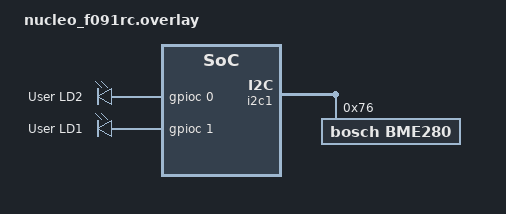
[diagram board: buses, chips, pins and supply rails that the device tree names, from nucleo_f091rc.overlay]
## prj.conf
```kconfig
CONFIG_PRINTK=y
CONFIG_HEAP_MEM_POOL_SIZE=256
CONFIG_ASSERT=y
CONFIG_GPIO=y
CONFIG_SENSOR=y
CONFIG_SENSOR_ASYNC_API=y
```

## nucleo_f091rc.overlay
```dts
/*
 * Copyright (c) 2020, Nordic Semiconductor ASA
 *
 * SPDX-License-Identifier: Apache-2.0
 */

/*
 * Example configuration of a BME280 device on an Arduino I2C bus.
 *
 * Device address 0x77 is assumed. Your device may have a different
 * address; check your device documentation if unsure.
 */

/ {
    leds {
        compatible = "gpio-leds";
        green_led_2: led_2 {
            gpios = <&gpioc 0 GPIO_ACTIVE_HIGH>;
            label = "User LD2";
        };
        External_led1: led_1 {
            gpios = <&gpioc 1 GPIO_ACTIVE_HIGH>;
            label = "User LD1";
        };
    };
    aliases {
        led0 = &green_led_2;
        led1 = &External_led1;
    };
};
&i2c1 {    
    bme280@76 {  
        compatible = "bosch,bme280";
        reg = <0x76>;  
        label = "BME280";
    };
};
```

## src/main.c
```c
#include <zephyr/kernel.h>
#include <zephyr/device.h>
#include <zephyr/drivers/gpio.h>
#include <zephyr/drivers/sensor.h>
#include <zephyr/sys/printk.h>
#include <zephyr/sys/__assert.h>
#include <string.h>

/* Definieer de grootte van de stack voor de threads */
#define STACKSIZE 1024
#define PRIORITY 7

/* LED node definities */
#define LED0_NODE DT_ALIAS(led0) // Definieer de alias voor LED0
#define LED1_NODE DT_ALIAS(led1) // Definieer de alias voor LED1

/* Sensor apparaat aanroepen */
const struct device *const bme280_dev = DEVICE_DT_GET_ANY(bosch_bme280); // Verkrijg de BME280 sensor

/* Gedeelde temperatuur variabele */
volatile int32_t temperature; // Variabele om de temperatuur op te slaan
K_MUTEX_DEFINE(temp_mutex); // Mutex om toegang tot de temperatuur te synchroniseren

/* Structuur voor LED's */
struct led {
    struct gpio_dt_spec spec; // Specificaties van de GPIO
    uint8_t num;              // Nummer van de LED
};

/* Initialiseer LED0 */
static const struct led led0 = {
    .spec = GPIO_DT_SPEC_GET_OR(LED0_NODE, gpios, {0}), // Verkrijg GPIO specificaties voor LED0
    .num = 0, // Nummer van LED0
};

/* Initialiseer LED1 */
static const struct led led1 = {
    .spec = GPIO_DT_SPEC_GET_OR(LED1_NODE, gpios, {0}), // Verkrijg GPIO specificaties voor LED1
    .num = 1, // Nummer van LED1
};

/* Functie om de LED's te laten knipperen op basis van de temperatuur */
void blink_leds(void)
{
    // Configureer de LED's als output
    int ret = gpio_pin_configure_dt(&led0.spec, GPIO_OUTPUT_ACTIVE);
    ret |= gpio_pin_configure_dt(&led1.spec, GPIO_OUTPUT_ACTIVE);

    if (ret < 0) {
        printk("Kon LED's niet configureren\n"); // Foutmelding als configuratie mislukt
        return;
    }

    while (1) {
        k_mutex_lock(&temp_mutex, K_FOREVER); // Vergrendel mutex om toegang tot temperatuur te verkrijgen
        int32_t current_temp = temperature; // Verkrijg de huidige temperatuur
        k_mutex_unlock(&temp_mutex); // Ontgrendel de mutex

        // Controleer de temperatuur en pas de LED's aan
        if (current_temp > 25000000) { // Hoger dan 25°C (25000000 micrograden)
            gpio_pin_set_dt(&led0.spec, 1);  // Zet LED0 (groen) aan
            gpio_pin_set_dt(&led1.spec, 0);  // Zet LED1 (rood) uit
        } else if (current_temp < 24000000) { // Lager dan 24°C (24000000 micrograden)
            gpio_pin_set_dt(&led0.spec, 0);  // Zet LED0 (groen) uit
            gpio_pin_set_dt(&led1.spec, 1);  // Zet LED1 (rood) aan
        } else {
            gpio_pin_set_dt(&led0.spec, 0);  // Zet beide LED's uit
            gpio_pin_set_dt(&led1.spec, 0);
        }

        k_msleep(500); // Wacht 1 seconde voordat je opnieuw controleert
    }
}

/* Thread om de temperatuur te lezen */
void read_temperature(void)
{
    // Controleer of de sensor klaar is
    if (!device_is_ready(bme280_dev)) {
        printk("Sensor niet gereed\n"); // Foutmelding als sensor niet klaar is
        return;
    }

    struct sensor_value temp; // Struct om temperatuurwaarde op te slaan

    while (1) {
        sensor_sample_fetch(bme280_dev); // Verkrijg een nieuwe temperatuurmeting
        sensor_channel_get(bme280_dev, SENSOR_CHAN_AMBIENT_TEMP, &temp); // Verkrijg de temperatuurwaarde

        k_mutex_lock(&temp_mutex, K_FOREVER); // Vergrendel mutex om toegang tot de temperatuurvariabele te verkrijgen
        temperature = temp.val1 * 1000000 + temp.val2; // Zet temperatuur om naar micrograden
        k_mutex_unlock(&temp_mutex); // Ontgrendel de mutex

        printk("Temperatuur: %d.%06d C\n", temp.val1, temp.val2); // Print de temperatuur
        k_msleep(1000); // Wacht 1 seconde voordat je opnieuw leest
    }
}

/* Definieer de threads voor temperatuurmeting en LED knipperen */
K_THREAD_DEFINE(sensor_thread_id, STACKSIZE, read_temperature, NULL, NULL, NULL, PRIORITY, 0, 0);
K_THREAD_DEFINE(led_thread_id, STACKSIZE, blink_leds, NULL, NULL, NULL, PRIORITY, 0, 0);

int main()
{
    printk("Systeem gestart\n"); // Meld dat het systeem is gestart
    return 0; // Eindig de hoofdthread
}
```
